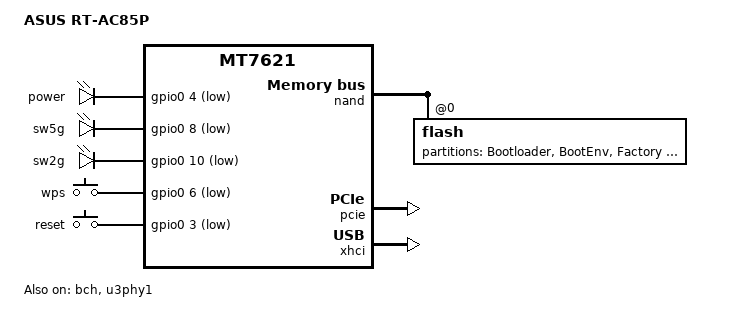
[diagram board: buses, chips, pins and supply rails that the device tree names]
/dts-v1/;

#include "mt7621.dtsi"
#include <dt-bindings/input/input.h>
#include "mt7621-raeth-gmac2.dtsi"
#include "mt7621-pinctrl-default-gpio.dtsi"

/ {
	compatible = "mediatek,mt7621-soc";
	model = "ASUS RT-AC85P";

	chosen {
		bootargs = "console=ttyS0,57600";
	};

	leds {
		compatible = "gpio-leds";

		power {
			label = "power";
			gpios = <&gpio0 4 GPIO_ACTIVE_LOW>;
		};

		wlan5g {
			label = "sw5g";
			gpios = <&gpio0 8 GPIO_ACTIVE_LOW>;
		};

		wlan2g {
			label = "sw2g";
			gpios = <&gpio0 10 GPIO_ACTIVE_LOW>;
		};
	};

	gpio-keys-polled {
		compatible = "gpio-keys-polled";
		#address-cells = <1>;
		#size-cells = <0>;
		poll-interval = <20>;

		wps {
			label = "wps";
			gpios = <&gpio0 6 GPIO_ACTIVE_LOW>;
			linux,code = <KEY_WPS_BUTTON>;
		};


		reset {
			label = "reset";
			gpios = <&gpio0 3 GPIO_ACTIVE_LOW>;
			linux,code = <KEY_RESTART>;
		};
	};

};

&bch {
	status = "okay";
};

&nand {
	status = "okay";

	flash@0 {
		reg = <0>;
		nand-ecc-mode = "hw";
		partitions {
			compatible = "fixed-partitions";
			#address-cells = <1>;
			#size-cells = <1>;

			partition@0 {
				label = "Bootloader";
				reg = <0x0 0xe0000>;
				read-only;
			};

			partition@e0000 {
				label = "BootEnv";
				reg = <0xe0000 0x100000>;
				read-only;
			};

			partition@1e0000 {
				label = "Factory";
				reg = <0x1e0000 0x100000>;
				read-only;
			};

			partition@2e0000 {
				label = "factory2";
				reg = <0x2e0000 0x100000>;
				read-only;
			};

			partition@3e0000 {
				label = "firmware";
				reg = <0x3e0000 0x3000000>;
			};
			
			partition@33e0000  {
				label = "Config";
				reg = <0x33e0000 0x100000>;
			};

			partition@34e0000 {
				label = "Storage";
				reg = <0x34e0000 0x400000>;		
			};

			partition@38e0000 {
				label = "RWFS";
				reg = <0x38e0000 0x46a0000>;
			};

			partition@all {
				label = "ALL";
				reg = <0x0 0x7f80000>;
			};

		};
			
	};
};

&pcie {
	status = "okay";
};

&xhci {
	status = "okay";
};

&u3phy1 {
	status = "okay";
};
